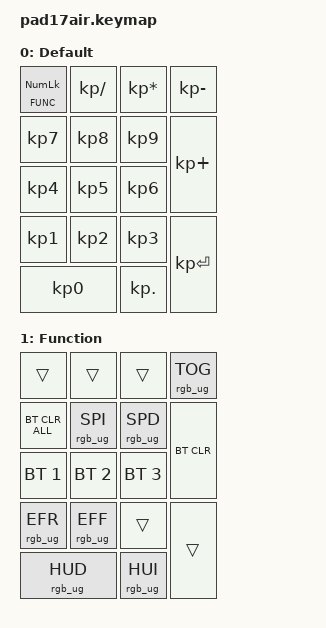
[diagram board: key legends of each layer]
#include <behaviors.dtsi>
#include <dt-bindings/zmk/bt.h>
#include <dt-bindings/zmk/keys.h>
#include <dt-bindings/zmk/outputs.h>
#include <dt-bindings/zmk/pointing.h>
#include <dt-bindings/zmk/rgb.h>

#define DEFAULT   0
#define FUNC  1

&lt {
    tapping-term-ms = <200>;
    flavor = "balanced";
    quick-tap-ms = <170>;
};

/ {
 
    keymap {
        compatible = "zmk,keymap";

        default_layer { // Layer 0 (DEFAULT Layer）
            display-name = "Default";
            label = "DEFAULTLAYER";
// ┌───┬───┬───┬───┐
// │NUM│ / │ * │ - │
// ├───┼───┼───┼───┤
// │ 7 │ 8 │ 9 │ + │
// ├───┼───┼───┤   │
// │ 4 │ 5 │ 6 │   │
// ├───┼───┼───┼───┤
// │ 1 │ 2 │ 3 │RET│
// ├───┴───┼───┤   │
// │ 0     │ . │   │
// └───────┴───┴───┘       
            bindings = <
&lt FUNC KP_NUM  &kp KP_SLASH    &kp KP_ASTERISK   &kp KP_MINUS  
&kp KP_N7        &kp KP_N8       &kp KP_N9         &kp KP_PLUS  
&kp KP_N4        &kp KP_N5       &kp KP_N6         
&kp KP_N1        &kp KP_N2       &kp KP_N3         &kp KP_ENTER
&kp KP_N0                        &kp KP_DOT
>;
        };

        function_layer {  // Layer 1 (FUNC Layer)
            display-name = "Function";
            label = "FUNCTIONLAYER";
// ┌────────┬────────┬────────┬─────────┐
// │        │        │        │ RGB_TOG │
// ├────────┼────────┼────────┼─────────┤
// │BT_CLR_A│ RGB_SPD│        │
// ├────────┼────────┼────────┤ BT_CLR  │
// │  BL1   │  BL2   │  BL3   │         │
// ├────────┼────────┼────────┼─────────┤
// │ RGB_EFR│ RGB_EFF│        │         │
// ├────────┴────────┼────────┤         │
// │      RGB_HUD    │ RGB_HUI│         │   
// └─────────────────┴────────┴─────────┘      
            bindings = <
&trans           &trans          &trans            &rgb_ug RGB_TOG  
&bt BT_CLR_ALL   &rgb_ug RGB_SPI &rgb_ug RGB_SPD   &bt BT_CLR  
&bt BT_SEL 1     &bt BT_SEL 2    &bt BT_SEL 3              
&rgb_ug RGB_EFR  &rgb_ug RGB_EFF &trans            &trans
&rgb_ug RGB_HUD                  &rgb_ug RGB_HUI 
            >; 
        };                      

    };
};
